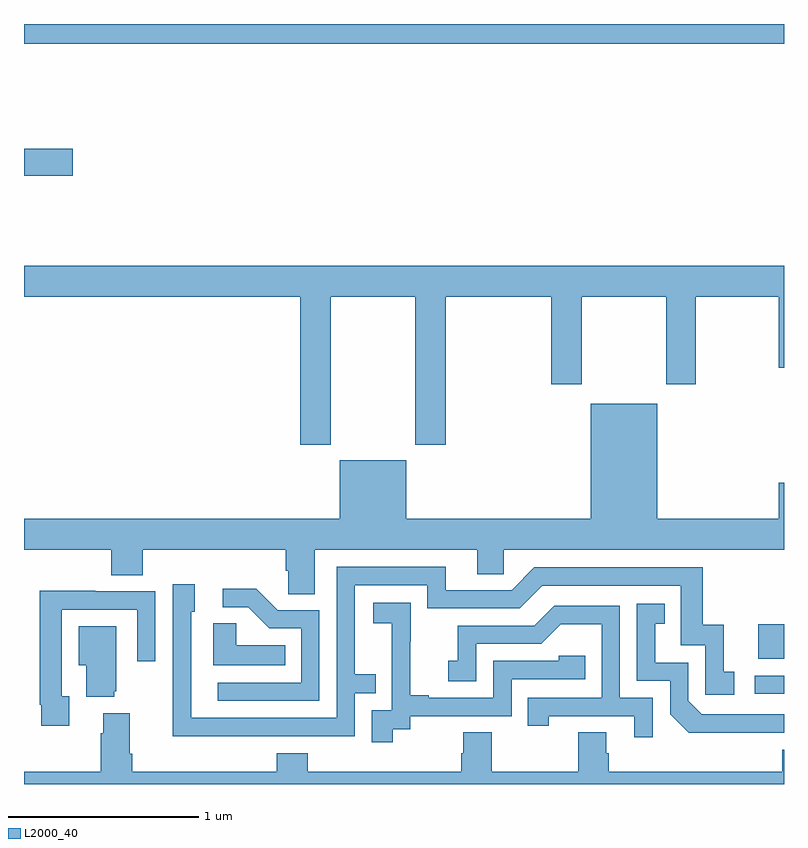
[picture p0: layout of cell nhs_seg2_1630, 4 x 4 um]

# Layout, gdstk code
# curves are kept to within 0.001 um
import gdstk
lib = gdstk.Library(unit=1e-6, precision=1e-09)
def R(c, l, rs):  # rectangles x0, y0, x1, y1
    for r in rs: c.add(gdstk.rectangle(r[:2], r[2:], *l))
def P(c, l, *ps):  # polygons
    for p in ps: c.add(gdstk.Polygon(p, *l))
L2000_40 = (2000, 40)

nhs_seg2_1630 = lib.new_cell('nhs_seg2_1630')
R(nhs_seg2_1630, L2000_40, [(200.847,584.274,201,584.37), (200.864,584.459,201,584.641), (197,587.002,197.257,587.144), (197,587.696,201,587.8)])
P(nhs_seg2_1630, L2000_40, [(198.615,586.364),(199.06,586.364),(199.06,585.585),(199.22,585.585),(199.22,586.364),(199.775,586.364),(199.775,585.903),(199.935,585.903),(199.935,586.364),(200.38,586.364),(200.38,585.903),(200.535,585.903),(200.535,586.364),(200.972,586.364),(200.972,585.99),(201,585.99),(201,586.528),(197,586.528),(197,586.364),(198.455,586.364),(198.455,585.585),(198.615,585.585)],
  [(201,585.385),(200.972,585.385),(200.972,585.196),(200.332,585.196),(200.332,585.802),(199.982,585.802),(199.982,585.196),(199.012,585.196),(199.012,585.505),(198.662,585.505),(198.662,585.196),(197,585.196),(197,585.032),(197.459,585.032),(197.459,584.899),(197.624,584.899),(197.624,585.032),(198.377,585.032),(198.377,584.923),(198.39,584.923),(198.39,584.8),(198.529,584.8),(198.529,585.032),(199.385,585.032),(199.385,584.905),(199.524,584.905),(199.524,585.032),(201,585.032)],
  [(198.245,584.052),(198.741,584.052),(198.741,584.277),(198.851,584.277),(198.851,584.378),(198.741,584.378),(198.741,584.847),(199.122,584.847),(199.122,584.724),(199.608,584.724),(199.728,584.844),(200.457,584.844),(200.457,584.529),(200.586,584.529),(200.586,584.271),(200.737,584.271),(200.737,584.391),(200.684,584.391),(200.684,584.638),(200.573,584.638),(200.573,584.94),(199.686,584.94),(199.566,584.82),(199.219,584.82),(199.219,584.943),(198.645,584.943),(198.645,584.148),(197.88,584.148),(197.88,584.706),(197.899,584.706),(197.899,584.851),(197.784,584.851),(197.784,584.357),(197.782,584.357),(197.782,584.051)],
  [(198.555,584.715),(198.336,584.715),(198.223,584.828),(198.045,584.828),(198.045,584.73),(198.179,584.73),(198.29,584.619),(198.459,584.619),(198.459,584.334),(198.021,584.334),(198.021,584.238),(198.555,584.238)],
  [(197.239,584.262),(197.199,584.262),(197.199,584.718),(197.595,584.718),(197.595,584.445),(197.691,584.445),(197.691,584.814),(197.375,584.814),(197.375,584.816),(197.083,584.816),(197.083,584.218),(197.091,584.218),(197.091,584.106),(197.239,584.106)],
  [(198.94,584.089),(199.032,584.089),(199.032,584.157),(199.566,584.157),(199.566,584.352),(199.955,584.352),(199.955,584.475),(199.815,584.475),(199.815,584.448),(199.47,584.448),(199.47,584.253),(199.129,584.253),(199.129,584.266),(199.034,584.266),(199.034,584.549),(199.035,584.549),(199.035,584.755),(198.837,584.755),(198.837,584.645),(198.935,584.645),(198.935,584.417),(198.936,584.417),(198.936,584.187),(198.831,584.187),(198.831,584.019),(198.94,584.019)],
  [(200.906,584.07),(201,584.07),(201,584.166),(200.568,584.166),(200.496,584.238),(200.496,584.439),(200.323,584.439),(200.323,584.643),(200.372,584.643),(200.372,584.749),(200.226,584.749),(200.226,584.343),(200.4,584.343),(200.4,584.166),(200.498,584.069)],
  [(200.31,584.253),(200.136,584.253),(200.136,584.739),(199.79,584.739),(199.685,584.634),(199.282,584.634),(199.282,584.449),(199.233,584.449),(199.233,584.34),(199.38,584.34),(199.38,584.538),(199.722,584.538),(199.826,584.642),(200.04,584.642),(200.04,584.253),(199.651,584.253),(199.651,584.106),(199.762,584.106),(199.762,584.157),(200.213,584.157),(200.213,584.046),(200.31,584.046)],
  [(198.374,584.53),(198.117,584.53),(198.117,584.645),(197.996,584.645),(197.996,584.426),(198.374,584.426)],
  [(197.474,584.289),(197.485,584.289),(197.485,584.629),(197.288,584.629),(197.288,584.426),(197.327,584.426),(197.327,584.258),(197.474,584.258)],
  [(201,583.981),(200.99,583.981),(200.99,583.864),(200.078,583.864),(200.078,583.962),(200.065,583.962),(200.065,584.072),(199.918,584.072),(199.918,583.864),(199.461,583.864),(199.461,584.072),(199.313,584.072),(199.313,583.962),(199.301,583.962),(199.301,583.864),(198.494,583.864),(198.494,583.963),(198.329,583.963),(198.329,583.864),(197.57,583.864),(197.57,583.96),(197.557,583.96),(197.557,584.173),(197.417,584.173),(197.417,584.066),(197.405,584.066),(197.405,583.864),(197,583.864),(197,583.8),(201,583.8)])

lib.write_gds('nhs_seg2_1630.gds')
